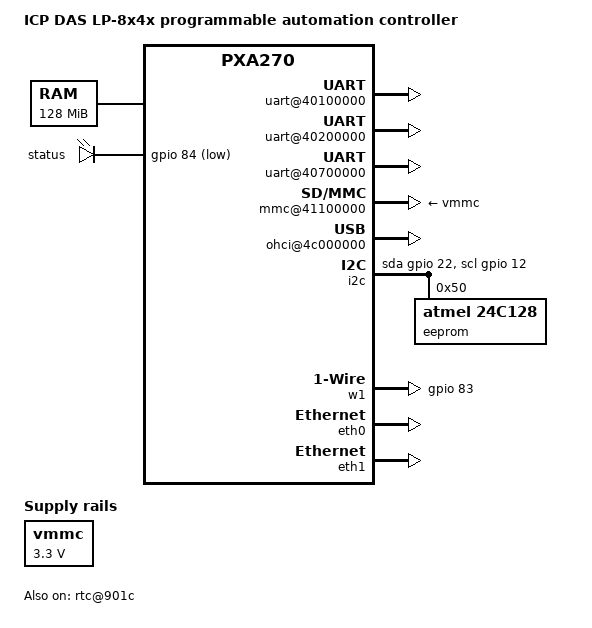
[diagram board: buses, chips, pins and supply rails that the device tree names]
/* Device tree for ICP DAS LP-8x4x */
/dts-v1/;

#include <dt-bindings/interrupt-controller/arm-gic.h>
#include "pxa27x.dtsi"

/ {
	model = "ICP DAS LP-8x4x programmable automation controller";
	compatible = "marvell,lp8x4x", "marvell,pxa270";

	aliases {
		ethernet0 = &eth0;
		ethernet1 = &eth1;
	};

	memory {
		reg = <0xa0000000 0x08000000>;
	};

	regulators {
		compatible = "simple-bus";
		#address-cells = <1>;
		#size-cells = <0>;

		vmmc: regulator@0 {
			compatible = "regulator-fixed";
			reg = <0>;
			regulator-name = "vmmc";
			regulator-min-microvolt = <3300000>;
			regulator-max-microvolt = <3300000>;
			regulator-always-on;
		};
	};

	pxabus {
		pxairq: interrupt-controller@40d00000 {
			marvell,intc-priority;
			marvell,intc-nr-irqs = <34>;
		};

		uart@40100000 {
			status = "okay";
		};

		uart@40200000 {
			status = "okay";
		};

		uart@40700000 {
			status = "okay";
		};

		mmc@41100000 {
			status = "okay";
			vmmc-supply = <&vmmc>;
		};

		ohci@4c000000 {
			status = "okay";
			marvell,port-mode = <3>;
			marvell,oc-mode-perport;
			marvell,enable-port1;
		};

		leds {
			compatible = "gpio-leds";

			status {
				gpios = <&gpio 84 1>;
				linux,default-trigger = "heartbeat";
			};
		};

		i2c: i2c-gpio {
			compatible = "i2c-gpio";
			gpios = <&gpio 22 0 /* sda */
				 &gpio 12 0 /* scl */>;
			i2c-gpio,delay-us = <1>;
			i2c-gpio,timeout-ms = <1>;
			#address-cells = <1>;
			#size-cells = <0>;

			eeprom@50 {
				compatible = "atmel,24c128";
				reg = <0x50>;
				pagesize = <64>;
			};
		};

		w1: w1-gpio {
			compatible = "w1-gpio";
			gpios = <&gpio 83 0>;
		};
	};

	extbus {
		flash@0 {
			compatible = "cfi-flash";
			reg = <0 0 0x02000000>;
			bank-width = <4>;
			device-width = <2>;
			#address-cells = <1>;
			#size-cells = <1>;
			fs@0 {
				label = "u-boot";
				reg = <0 0x40000>;
			};
			fs@40000 {
				label = "settings";
				reg = <0x40000 0x40000>;
			};
			fs@80000 {
				label = "kernel";
				reg = <0x80000 0x280000>;
			};
			fs@300000 {
				label = "root_fs";
				reg = <0x300000 0x1d00000>;
			};
		};

		flash@1 {
			compatible = "cfi-flash";
			reg = <1 0x0 0x01000000>;
			bank-width = <2>;
			device-width = <1>;
		};

		netio@3 {
			compatible = "simple-bus";
			#address-cells = <1>;
			#size-cells = <1>;
			ranges = <0 3 0 0x02000000>;
			interrupt-parent = <&gpio>;

			eth0: eth@0 {
				compatible = "davicom,dm9000";
				reg = <0x0 0x2
				       0x4000 0x2>;
				interrupts = <9 IRQ_TYPE_EDGE_RISING>;
				status = "okay";
			};

			eth1: eth@1000000 {
				compatible = "davicom,dm9000";
				reg = <0x1000000 0x2
				       0x1004000 0x2>;
				interrupts = <82 IRQ_TYPE_EDGE_RISING>;
				status = "okay";
			};
		};

		fpga@5 {
			compatible = "simple-bus";
			#address-cells = <1>;
			#size-cells = <1>;
			ranges = <0 5 0x3000000 0x10000>;

			rtc@901c {
				compatible = "ds,rtc-ds1302";
				reg = <0x901c 0x1>;
				status = "okay";
			};

			sram@a000 {
				compatible = "icpdas,sram-lp8x4x";
				reg = <0xa000 0x1000
				       0x901e 0x1>;
			};
		};
	};
};
